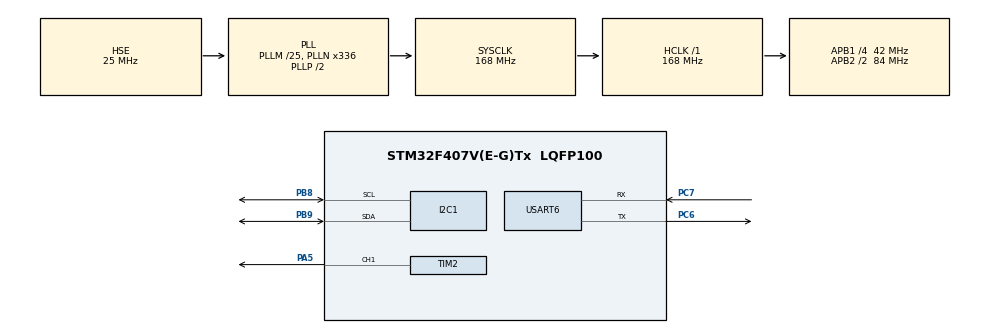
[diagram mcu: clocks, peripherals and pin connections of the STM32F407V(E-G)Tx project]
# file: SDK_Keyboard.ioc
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Mcu.Family=STM32F4
Mcu.Name=STM32F407V(E-G)Tx
Mcu.Package=LQFP100
NVIC.PriorityGroup=NVIC_PRIORITYGROUP_4
PA13.Mode=JTAG_5_pins
PA13.Signal=SYS_JTMS-SWDIO
PA14.Mode=JTAG_5_pins
PA14.Signal=SYS_JTCK-SWCLK
PA15.Mode=JTAG_5_pins
PA15.Signal=SYS_JTDI
PA5.Signal=S_TIM2_CH1_ETR
PB3.Mode=JTAG_5_pins
PB3.Signal=SYS_JTDO-SWO
PB4.Mode=JTAG_5_pins
PB4.Signal=SYS_JTRST
PB8.GPIO_Pu=GPIO_PULLUP
PB8.Mode=I2C
PB8.Signal=I2C1_SCL
PB9.GPIO_Pu=GPIO_PULLUP
PB9.Mode=I2C
PB9.Signal=I2C1_SDA
PC6.Mode=Asynchronous
PC6.Signal=USART6_TX
PC7.Mode=Asynchronous
PC7.Signal=USART6_RX
PH0-OSC_IN.Mode=HSE-External-Oscillator
PH0-OSC_IN.Signal=RCC_OSC_IN
PH1-OSC_OUT.Mode=HSE-External-Oscillator
PH1-OSC_OUT.Signal=RCC_OSC_OUT
ProjectManager.HeapSize=0x200
ProjectManager.StackSize=0x400
ProjectManager.TargetToolchain=STM32CubeIDE
RCC.48MHZClocksFreq_Value=84000000
RCC.AHBFreq_Value=168000000
RCC.APB1CLKDivider=RCC_HCLK_DIV4
RCC.APB1Freq_Value=42000000
RCC.APB1TimFreq_Value=84000000
RCC.APB2CLKDivider=RCC_HCLK_DIV2
RCC.APB2Freq_Value=84000000
RCC.APB2TimFreq_Value=168000000
RCC.CortexFreq_Value=168000000
RCC.HCLKFreq_Value=168000000
RCC.HSE_VALUE=25000000
RCC.HSI_VALUE=16000000
RCC.LSE_VALUE=32768
RCC.PLLM=25
RCC.PLLN=336
RCC.PLLSourceVirtual=RCC_PLLSOURCE_HSE
RCC.SYSCLKFreq_VALUE=168000000
RCC.SYSCLKSource=RCC_SYSCLKSOURCE_PLLCLK
RCC.VCOOutputFreq_Value=336000000
SH.S_TIM2_CH1_ETR.0=TIM2_CH1,PWM Generation1 CH1
TIM2.Channel-PWM\ Generation1\ CH1=TIM_CHANNEL_1
TIM2.Period=10
USART6.VirtualMode=VM_ASYNC
VP_TIM2_VS_ClockSourceINT.Mode=Internal
board=custom

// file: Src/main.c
/* USER CODE BEGIN Header */
/**
  ******************************************************************************
  * @file           : main.c
  * @brief          : Main program body
  ******************************************************************************
  * @attention
  *
  * <h2><center>&copy; Copyright (c) 2019 STMicroelectronics.
  * All rights reserved.</center></h2>
  *
  * This software component is licensed by ST under BSD 3-Clause license,
  * the "License"; You may not use this file except in compliance with the
  * License. You may obtain a copy of the License at:
  *                        opensource.org/licenses/BSD-3-Clause
  *
  ******************************************************************************
  */
/* USER CODE END Header */

#include "main.h"
#include "i2c.h"
#include "usart.h"
#include "gpio.h"

/* USER CODE BEGIN Includes */
#include "kb.h"
#include "sdk_uart.h"
#include "pca9538.h"
#include "oled.h"
#include "fonts.h"
#include "tim.h"
#include "buzzer.h"
/* USER CODE END Includes */

/* USER CODE BEGIN PTD */
typedef enum { KEY_IDLE, KEY_HELD } key_state_t;
/* USER CODE END PTD */

/* USER CODE BEGIN PV */

char lastKey;
uint32_t lastScanTime;
key_state_t keyState;

char timer[6] = {'\0','\0','\0','\0','\0','\0'};
uint8_t current_digit = 0;

/* USER CODE END PV */

void SystemClock_Config(void);
/* USER CODE BEGIN PFP */
void KB_Test( void );
void OLED_KB( uint8_t OLED_Keys[]);
void oled_Reset( void );

void scan_KB( void );
char read_key( void );

void process_pressed_key( void );

void start_timer( void );

void draw_timer( void );
void draw_started_timer( void );
void update_timer_chars( uint32_t sec );

void play_KB_beep( void );
void play_premature_timer_end( void );
void play_full_timer_end( void );
/* USER CODE END PFP */

int main(void)
{

  /* MCU Configuration--------------------------------------------------------*/

  /* Reset of all peripherals, Initializes the Flash interface and the Systick. */
  HAL_Init();

  /* Configure the system clock */
  SystemClock_Config();

  /* Initialize all configured peripherals */
  MX_GPIO_Init();
  MX_I2C1_Init();
  MX_USART6_UART_Init();
  MX_TIM2_Init();
  /* USER CODE BEGIN 2 */
  oled_Init();
  draw_timer();
  oled_UpdateScreen();
  Buzzer_Init();
  /* USER CODE END 2 */

  /* Infinite loop */
  while (1)
  {

    /* USER CODE BEGIN 3 */
	  scan_KB();
	  process_pressed_key();

  }
  /* USER CODE END 3 */
}

void SystemClock_Config(void)
{
  RCC_OscInitTypeDef RCC_OscInitStruct = {0};
  RCC_ClkInitTypeDef RCC_ClkInitStruct = {0};

  /** Configure the main internal regulator output voltage
  */
  __HAL_RCC_PWR_CLK_ENABLE();
  __HAL_PWR_VOLTAGESCALING_CONFIG(PWR_REGULATOR_VOLTAGE_SCALE1);
  /** Initializes the CPU, AHB and APB busses clocks
  */
  RCC_OscInitStruct.OscillatorType = RCC_OSCILLATORTYPE_HSE;
  RCC_OscInitStruct.HSEState = RCC_HSE_ON;
  RCC_OscInitStruct.PLL.PLLState = RCC_PLL_ON;
  RCC_OscInitStruct.PLL.PLLSource = RCC_PLLSOURCE_HSE;
  RCC_OscInitStruct.PLL.PLLM = 25;
  RCC_OscInitStruct.PLL.PLLN = 336;
  RCC_OscInitStruct.PLL.PLLP = RCC_PLLP_DIV2;
  RCC_OscInitStruct.PLL.PLLQ = 4;
  if (HAL_RCC_OscConfig(&RCC_OscInitStruct) != HAL_OK)
  {
    Error_Handler();
  }
  /** Initializes the CPU, AHB and APB busses clocks
  */
  RCC_ClkInitStruct.ClockType = RCC_CLOCKTYPE_HCLK|RCC_CLOCKTYPE_SYSCLK
                              |RCC_CLOCKTYPE_PCLK1|RCC_CLOCKTYPE_PCLK2;
  RCC_ClkInitStruct.SYSCLKSource = RCC_SYSCLKSOURCE_PLLCLK;
  RCC_ClkInitStruct.AHBCLKDivider = RCC_SYSCLK_DIV1;
  RCC_ClkInitStruct.APB1CLKDivider = RCC_HCLK_DIV4;
  RCC_ClkInitStruct.APB2CLKDivider = RCC_HCLK_DIV2;

  if (HAL_RCC_ClockConfig(&RCC_ClkInitStruct, FLASH_LATENCY_5) != HAL_OK)
  {
    Error_Handler();
  }
}

/* USER CODE BEGIN 4 */

void drawHappyFace(uint8_t x0, uint8_t y0) {
	// left half of the face, bit 15 = leftmost column
	static const uint16_t rows[32] = {
		0x003F, 0x01C0, 0x0600, 0x0800, 0x1000, 0x2000, 0x2000, 0x4000,
		0x4000, 0x8060, 0x80F0, 0x8198, 0x8000, 0x8000, 0x8000, 0x8000,
		0x83FF, 0x83FF, 0x81FF, 0x81FF, 0x80FF, 0x807F, 0x803F, 0x401F,
		0x400F, 0x2000, 0x2000, 0x1000, 0x0800, 0x0600, 0x01C0, 0x003F
	};

	for (uint8_t y = 0; y < 32; y++) {
		for (uint8_t x = 0; x < 16; x++) {
			OLED_COLOR c = (rows[y] & (0x8000 >> x)) ? White : Black;
			oled_DrawPixel(x0 + x,      y0 + y, c);
			oled_DrawPixel(x0 + 31 - x, y0 + y, c);
		}
	}
}

void drawSadFace(uint8_t x0, uint8_t y0) {
	// left half of the face (tears, outline, eyebrows, eyes, mouth)
	static const uint16_t rows[32] = {
		0x0000, 0x0600, 0x0600, 0x0000, 0x6000, 0x6300, 0x0300, 0x0000,
		0x600F, 0x6070, 0x0080, 0x0100, 0x6200, 0x62E0, 0x0470, 0x0438,
		0x081C, 0x0800, 0x0860, 0x0860, 0x0800, 0x0807, 0x081F, 0x083F,
		0x043F, 0x0478, 0x0270, 0x0200, 0x0100, 0x0080, 0x0070, 0x000F
	};

	for (uint8_t y = 0; y < 32; y++) {
		for (uint8_t x = 0; x < 16; x++) {
			OLED_COLOR c = (rows[y] & (0x8000 >> x)) ? White : Black;
			oled_DrawPixel(x0 + x,      y0 + y, c);
			oled_DrawPixel(x0 + 31 - x, y0 + y, c);
		}
	}
}

void play_KB_beep( void ) {
	Buzzer_Set_Freq(N_C5);
	Buzzer_Set_Volume(BUZZER_VOLUME_MAX);
	HAL_Delay(30);
	Buzzer_Set_Volume(BUZZER_VOLUME_MUTE);
}

void play_premature_timer_end( void ) {
	uint32_t lose_melody[] = {
		N_E5, N_DS5, N_D5, N_CS5,   // chromatic slide down
		0,                          // short rest
		N_C5, N_B4, N_AS4,          // sagging steps
		N_A4,                       // slow drop
		N_E3                        // low final note
	};
	uint32_t lose_delays[] = {
		8, 8, 8, 8,
		16,
		8, 8, 8,
		4,
		2
	};
	Buzzer_Play(lose_melody, lose_delays, sizeof(lose_melody) / sizeof(uint32_t));
}
void play_full_timer_end( void ) {
	uint32_t win_melody[] = {
			N_C5, N_E5, N_G5, N_C6, N_E6, N_G6,   // rising arpeggio
			N_E6, N_G6, 0,                        // lift and a short rest
			N_A5, N_B5, N_C6, N_D6, N_E6, N_C6,   // answer phrase
			N_G5, N_C6, N_E6, N_C7                // final climb, held
		};
		uint32_t win_delays[] = {
			16, 16, 16, 16, 16, 16,
			8, 4, 16,
			16, 16, 16, 16, 8, 8,
			16, 16, 16, 2
		};
	Buzzer_Play(win_melody, win_delays, sizeof(win_melody) / sizeof(uint32_t));
}

void process_pressed_key( void ) {
	char key = lastKey;
	lastKey = '\0';

	if (key != '\0') {
		play_KB_beep();
		if (key == 'D') {
			if (current_digit > 0) {
				timer[--current_digit] = '\0';
			}
			draw_timer();
			oled_UpdateScreen();
		} else if (key == 'E') {
			start_timer();
			for ( uint8_t i = 0; i < 6; i++ ) {
				timer[i] = '\0';
			}
			current_digit = 0;
			oled_Fill(Black);
			draw_timer();
			oled_UpdateScreen();
		} else if (current_digit < 6) {
			timer[current_digit++] = key;
			draw_timer();
			oled_UpdateScreen();
		}
	}
}

void draw_timer( void ) {
	// Draw invitation
	oled_SetCursor(22, 4);
	oled_WriteString("Enter timer:", Font_7x10, White);
	oled_DrawHLine(20, 108, 15, White);

	// Draw timer itself
	oled_SetCursor(20, 18);
	for ( int i = 0; i < 6; i++ ) {

		if (i % 2 == 0 && i != 0) {
			oled_WriteChar(':', Font_11x18, White);
		}

		if (timer[i] == '\0') {
			if (i == current_digit) {
				oled_WriteChar('_', Font_11x18, White);
			} else {
				oled_WriteChar(' ', Font_11x18, White);
			}
		} else {
			oled_WriteChar(timer[i], Font_11x18, White);
		}
	}
	oled_DrawHLine(20, 108, 39, White);
	// Draw explanation
	oled_SetCursor(20, 42);
	oled_WriteString("HH:MM:SS", Font_11x18, White);

}

void update_timer_chars( uint32_t sec ) {
	uint32_t h = sec / 3600;
	uint32_t m = (sec % 3600) / 60;
	uint32_t s = sec % 60;

	timer[0] = '0' + h / 10;
	timer[1] = '0' + h % 10;
	timer[2] = '0' + m / 10;
	timer[3] = '0' + m % 10;
	timer[4] = '0' + s / 10;
	timer[5] = '0' + s % 10;
}

void start_timer( void ) {
	for ( int i = 0; i < 6; i++ ) {
		if (timer[i] == '\0') timer[i] = '0';
	}

	uint32_t h = (timer[0]-'0')*10 + (timer[1]-'0');
	uint32_t m = (timer[2]-'0')*10 + (timer[3]-'0');
	uint32_t s = (timer[4]-'0')*10 + (timer[5]-'0');
	uint32_t time_to_wait = h*3600 + m*60 + s;

	update_timer_chars(time_to_wait);
	oled_Fill(Black);
	draw_started_timer();
	oled_UpdateScreen();

	uint32_t last = HAL_GetTick();

	while ( time_to_wait > 0 ) {
		scan_KB();
		if ( lastKey != '\0' ) {
			lastKey = '\0';
			oled_Fill(Black);
			drawSadFace(48, 16);
			oled_UpdateScreen();
			play_premature_timer_end();
			return;
		}

		if ( HAL_GetTick() - last >= 1000 ) {
			last += 1000;
			time_to_wait--;
			update_timer_chars( time_to_wait );
			draw_started_timer();
			oled_UpdateScreen();
		}
	}
	oled_Fill(Black);
	drawHappyFace(48, 16);
	oled_UpdateScreen();
	play_full_timer_end();
}

void draw_started_timer ( void ) {
	// Draw explanation
	oled_SetCursor(29, 4);
	oled_WriteString("Time left:", Font_7x10, White);
	oled_DrawHLine(20, 108, 15, White);

	// Draw timer itself
	oled_SetCursor(20, 18);
	for ( int i = 0; i < 6; i++ ) {

		if (i % 2 == 0 && i != 0) {
			oled_WriteChar(':', Font_11x18, White);
		}
		oled_WriteChar(timer[i], Font_11x18, White);
	}
	oled_DrawHLine(22, 108, 39, White);
	// Draw explanation
	oled_SetCursor(15, 42);
	oled_WriteString("Any key 2 stop", Font_7x10, White);

}

void scan_KB( void ) {
	  // debouncing, if we scanned in the last 150 ms we dont do anything.
	  if (HAL_GetTick() - lastScanTime > 150) {
	    lastScanTime = HAL_GetTick();
	    // scan keyboard
	    char currentKey = read_key();

	    if (keyState == KEY_IDLE) {
	      if (currentKey != '\0') {
	        lastKey = currentKey;
	        keyState = KEY_HELD;
	      }
	    } else {
	      if (currentKey == '\0') {
	        keyState = KEY_IDLE;
	        lastKey = '\0';
	      }
	    }
	  }
}

char read_key( void ) {
	  const char keymap[4][3] = {
		{'D', '0', 'E'},
	    {'1', '2', '3'},
	    {'4', '5', '6'},
	    {'7', '8', '9'},

	  };
	  uint8_t Key = 0, Row[4] = {ROW4, ROW3, ROW2, ROW1};

	  for ( int i = 0; i < 4; i++ ) {
		  Key = Check_Row(Row[i]);
		  switch( Key ) {
		  	  case 0x01:
		  		  return keymap[i][2];
		  	  case 0x02:
		  		  return keymap[i][1];
		  	  case 0x04:
		  		  return keymap[i][0];
		  }
	  }
	  return '\0';

}

/* USER CODE END 4 */

void Error_Handler(void)
{
}

/************************ (C) COPYRIGHT STMicroelectronics *****END OF FILE****/
